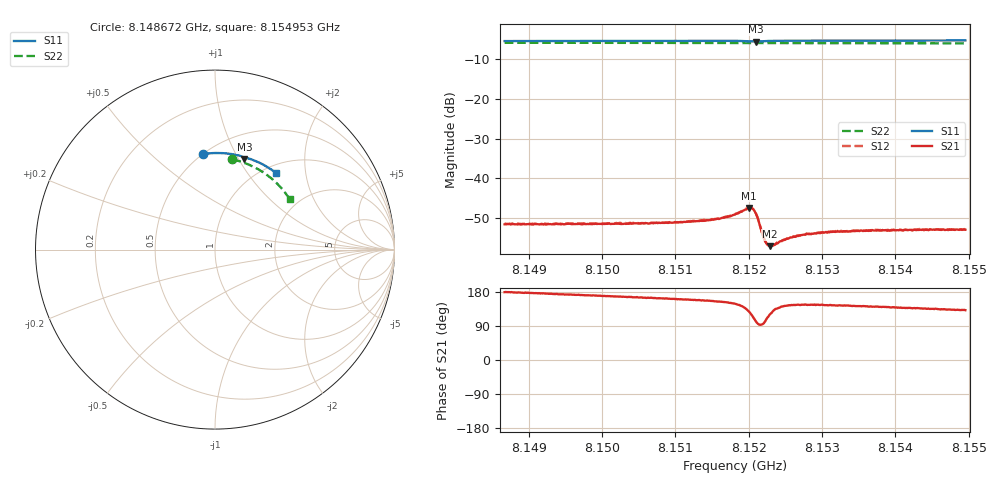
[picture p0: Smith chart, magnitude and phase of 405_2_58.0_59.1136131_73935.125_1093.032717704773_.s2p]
#  HZ  S  RI  R  50.00
! Rohde & Schwarz Vector Network Analyzer
! Rohde-Schwarz,ZNB20-2Port,1311601062101988,3.16
! Created: UTC 3/21/2024, 1:08:24 AM
! freq[Hz]  re:S11  im:S11  re:S21  im:S21  re:S12  im:S12  re:S22  im:S22
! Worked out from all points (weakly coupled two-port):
!   401 points, 8.148672 GHz to 8.154953 GHz, reference 50 ohm
!   highest |S21| = -47.53 dB at 8.152001 GHz (marker M1); lowest = -57.2 dB at 8.152283 GHz (marker M2)
!   lowest |S11| = -5.5 dB at 8.152095 GHz (marker M3), VSWR 3.24, Z = 37.8 + j52.8 ohm
!   |S11| at or under -10 dB: nowhere
!   |S22| runs from -6.0 to -5.8 dB; largest |S21 - S12| = 0.00014
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8.1486718e9  -0.0662 0.5321  -0.00261 4.45e-05  -0.00266 8.15e-05  0.0968 0.5023
8.1497239e9  0.00683 0.5381  -0.00258 0.000383  -0.00265 0.000428  0.1623 0.4836
8.150776e9  0.08 0.534  -0.00263 0.000796  -0.0026 0.000835  0.2243 0.4565
8.1514198e9  0.125 0.5261  -0.00268 0.00115  -0.00268 0.00121  0.2599 0.436
8.151624e9  0.1395 0.5224  -0.00281 0.00138  -0.0028 0.00144  0.2709 0.4291
8.1518124e9  0.1533 0.5175  -0.00297 0.00181  -0.00296 0.00189  0.2808 0.4222
8.1520008e9  0.1656 0.5072  -0.0026 0.0033  -0.00259 0.00333  0.2904 0.4149
8.1520479e9  0.1657 0.5036  -0.00184 0.0037  -0.00181 0.00376  0.2926 0.413
8.1520794e9  0.1644 0.5024  -0.0011 0.00367  -0.00107 0.00371  0.2942 0.4119
8.1520951e9  0.1635 0.5025  -0.000787 0.00352  -0.000753 0.00355  0.2949 0.4114
8.1521265e9  0.1629 0.504  -0.00029 0.00302  -0.000264 0.00304  0.2964 0.4101
8.1521893e9  0.1655 0.5077  -0.000155 0.00191  -0.000164 0.00193  0.2995 0.408
8.1522207e9  0.168 0.5089  -0.000315 0.00158  -0.000299 0.0016  0.3011 0.4069
8.1522521e9  0.1707 0.5095  -0.000532 0.00135  -0.000483 0.00139  0.3028 0.4058
8.1522835e9  0.1735 0.5097  -0.000683 0.00121  -0.000659 0.00123  0.3045 0.4045
8.1523463e9  0.1787 0.5092  -0.000963 0.00108  -0.000943 0.00108  0.3075 0.4018
8.1524405e9  0.1862 0.5079  -0.00124 0.00101  -0.00121 0.00101  0.3122 0.3984
8.1525976e9  0.1975 0.5046  -0.00147 0.00103  -0.00149 0.00107  0.3199 0.3917
8.1528645e9  0.2158 0.498  -0.00165 0.00112  -0.00163 0.00117  0.3325 0.3806
8.1531629e9  0.2352 0.4897  -0.00171 0.00123  -0.00172 0.00124  0.3463 0.3676
8.1539166e9  0.2819 0.4659  -0.00164 0.00142  -0.00165 0.00145  0.3783 0.3325
8.154953e9  0.3414 0.4263  -0.00148 0.00167  -0.00147 0.00171  0.4165 0.2801
